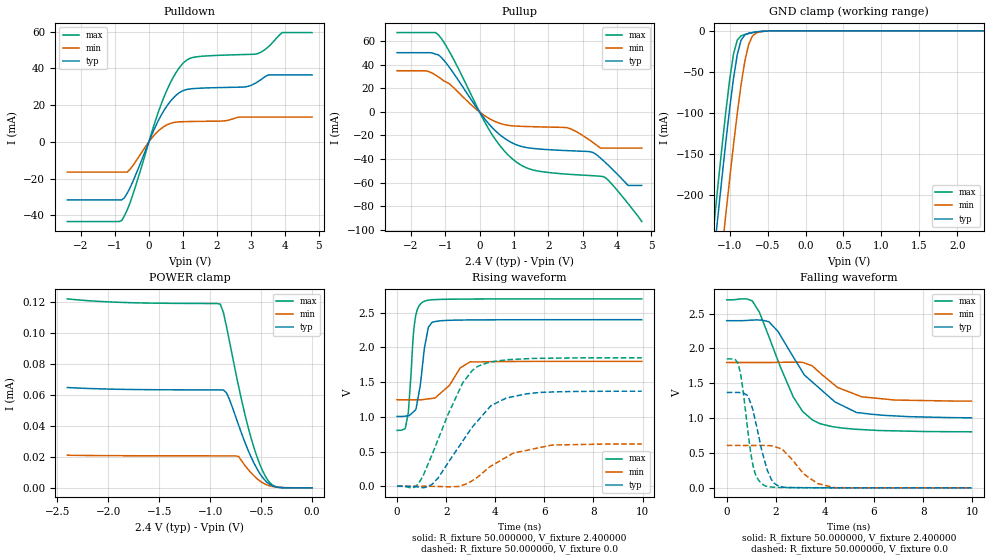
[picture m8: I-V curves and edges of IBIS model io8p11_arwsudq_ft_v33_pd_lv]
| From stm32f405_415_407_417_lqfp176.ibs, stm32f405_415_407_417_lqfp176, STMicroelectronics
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|   Model io8p11_arwsudq_ft_v33_pd_lv
[Model]  io8p11_arwsudq_ft_v33_pd_lv
Model_type I/O
Polarity   Non-Inverting
Enable   Active-Low
Vinl =   0.720000V
Vinh =   1.680000V
Vmeas =  1.200000V
Cref =   30.000000pF
Rref =   100.000000M
Vref =   0.0V
C_comp   2.828400pF   2.777000pF   2.910300pF
[Temperature Range]   25.000000   0.125000k   -40.000000
[Pullup Reference]   2.400000V   1.800000V   2.700000V
[Pulldown Reference]   0.0V   0.0V   0.0V
[POWER Clamp Reference]   2.400000V   1.800000V   2.700000V
[GND Clamp Reference]   0.0V   0.0V   0.0V
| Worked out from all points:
|   slope of the pulldown table from 0 to 0.36 V, typ, clamps not added: 25 ohm
|   slope of the pullup table from 0 to 0.36 V, typ, clamps not added: 27.7 ohm
|   GND clamp passes 1 mA (typ) near -0.62 V on its own axis
|   rising waveform, R_fixture 50.000000, V_fixture 2.400000: 20-80 % time 325ps typ, 722ps min, 219ps max; typ from 1 V to 2.4 V
|   rising waveform, R_fixture 50.000000, V_fixture 0.0: 20-80 % time 1.7ns typ, 1.62ns min, 1.34ns max; typ from 0 V to 1.37 V
|   falling waveform, R_fixture 50.000000, V_fixture 2.400000: 20-80 % time 1.95ns typ, 1.46ns min, 1.38ns max; typ from 2.4 V to 1 V
|   falling waveform, R_fixture 50.000000, V_fixture 0.0: 20-80 % time 553ps typ, 1.01ns min, 414ps max; typ from 1.37 V to 0 V
[Pulldown]
|Voltage   I(typ)   I(min)   I(max)
-2.4V     -31.66mA   -16.51mA   -43.43mA
-800mV    -31.66mA   -16.51mA   -42.86mA
-480mV    -21.98mA   -13.17mA   -29.2mA
80mV      3.63mA     1.966mA    5.014mA
480mV     18.15mA    8.738mA    26.02mA
800mV     25.38mA    10.72mA    37.77mA
1.12V     28.53mA    11.02mA    44.6mA
2.8V      29.84mA    13.48mA    47.53mA
3.2V      32.65mA    13.48mA    48.04mA
3.52V     36.42mA    13.48mA    51.83mA
3.92V     36.42mA    13.48mA    59.48mA
4.8V      36.42mA    13.48mA    59.48mA
[Pullup]
|Voltage   I(typ)   I(min)   I(max)
-2.4V     50.45mA    35.08mA    67.52mA
-1.52V    50.45mA    34.74mA    67.52mA
-1.2V     48.64mA    29.86mA    65.66mA
-800mV    34.82mA    21.93mA    47.28mA
320mV     -11.75mA   -6.207mA   -17.08mA
1.04V     -27.53mA   -11.97mA   -41.91mA
1.6V      -31.13mA   -12.58mA   -49.63mA
2.56V     -32.88mA   -13.49mA   -52.9mA
3.28V     -34.2mA    -25.51mA   -54.18mA
3.6V      -41.34mA   -30.75mA   -55mA
4.32V     -62.46mA   -30.75mA   -77.88mA
4.72V     -62.46mA   -30.75mA   -93.2mA
[GND_clamp]
|Voltage   I(typ)   I(min)   I(max)
-2.4V     -1.428A    -1.51A     -1.4A
-1.2V     -266.4mA   -356.3mA   -229.4mA
-1.15V    -221.3mA   -311mA     -184.1mA
-1.1V     -177.3mA   -266.4mA   -140mA
-1.05V    -134.8mA   -222.7mA   -97.98mA
-950mV    -58.22mA   -139.2mA   -28.55mA
-900mV    -29.04mA   -100.6mA   -11.28mA
-850mV    -11.42mA   -65.77mA   -6.081mA
-750mV    -2.864mA   -16.63mA   -3.193mA
-700mV    -1.925mA   -6.327mA   -2.195mA
-600mV    -761.3uA   -1.176mA   -751.9uA
2.35V     58.09uA    37.92uA    67.25uA
[POWER_clamp]
|Voltage   I(typ)   I(min)   I(max)
-2.4V     64.71uA    21.03uA    121.9uA
-1.86V    63.55uA    20.74uA    119.6uA
-900mV    63.18uA    20.63uA    118.5uA
-870mV    63.14uA    20.63uA    113.2uA
-840mV    61.36uA    20.62uA    104.3uA
-720mV    40.37uA    20.18uA    65.28uA
-630mV    24.69uA    12.08uA    39.85uA
-540mV    12.26uA    5.907uA    20uA
-480mV    6.236uA    3.061uA    10.23uA
-420mV    2.4uA      1.365uA    3.726uA
-360mV    667.9nA    564nA      839.6nA
0V        0A         0A         0A
[Ramp]
| variable   typ   min   max
dV/dt_r  0.82116/1.69866n   0.36919/1.69972n   1.11072/1.33701n
dV/dt_f  0.83376/1.94755n   0.33234/1.46235n   1.13584/1.38120n
R_load = 50.000000
[Rising Waveform]
R_fixture= 50.000000
V_fixture= 2.400000
V_fixture_min= 1.800000
V_fixture_max= 2.700000
|time   V(typ)   V(min)   V(max)
0s        1.005V     1.245V     804.5mV
340.3ps   1.01V      1.245V     841.3mV
460.5ps   1.015V     1.245V     1.064V
660.7ps   1.07V      1.245V     2.163V
740.7ps   1.095V     1.245V     2.411V
1.081ns   1.882V     1.25V      2.659V
1.281ns   2.293V     1.259V     2.68V
1.642ns   2.378V     1.3V       2.69V
2.983ns   2.395V     1.792V     2.696V
9.97ns    2.399V     1.799V     2.699V
[Rising Waveform]
R_fixture= 50.000000
V_fixture= 0.0
V_fixture_min= 0.0
V_fixture_max= 0.0
|time   V(typ)   V(min)   V(max)
0s        77.37uV    35.07uV    227.3uV
620.6ps   -2.463mV   18.9uV     -22.78mV
860.9ps   -11.17mV   63.78uV    32.56mV
1.441ns   33.8mV     -758.5uV   467.8mV
2.663ns   644.1mV    15.07mV    1.48V
3.283ns   941.1mV    131.6mV    1.725V
3.824ns   1.16V      289.4mV    1.788V
5.265ns   1.331V     516.5mV    1.836V
6.306ns   1.358V     593.6mV    1.844V
9.97ns    1.369V     608.5mV    1.85V
[Falling Waveform]
R_fixture= 50.000000
V_fixture= 2.400000
V_fixture_min= 1.800000
V_fixture_max= 2.700000
|time   V(typ)   V(min)   V(max)
0s        2.399V     1.799V     2.699V
1.041ns   2.408V     1.799V     2.682V
1.341ns   2.409V     1.799V     2.51V
1.722ns   2.382V     1.799V     2.165V
2.703ns   1.884V     1.804V     1.31V
3.163ns   1.619V     1.792V     1.074V
3.504ns   1.514V     1.743V     971.5mV
4.505ns   1.217V     1.443V     868mV
5.285ns   1.081V     1.335V     840.2mV
9.97ns    1.005V     1.245V     804.5mV
[Falling Waveform]
R_fixture= 50.000000
V_fixture= 0.0
V_fixture_min= 0.0
V_fixture_max= 0.0
|time   V(typ)   V(min)   V(max)
0s        1.369V     608.5mV    1.85V
460.5ps   1.369V     608.4mV    1.788V
660.7ps   1.365V     608.3mV    1.409V
860.9ps   1.322V     608.2mV    810.8mV
1.161ns   969.8mV    608.1mV    202.7mV
1.522ns   416mV      608.4mV    36.93mV
2.122ns   25.54mV    571.7mV    5.876mV
3.143ns   2.102mV    197.7mV    1.921mV
4.384ns   949.9uV    3.575mV    957.9uV
9.97ns    77.37uV    35.07uV    227.3uV
